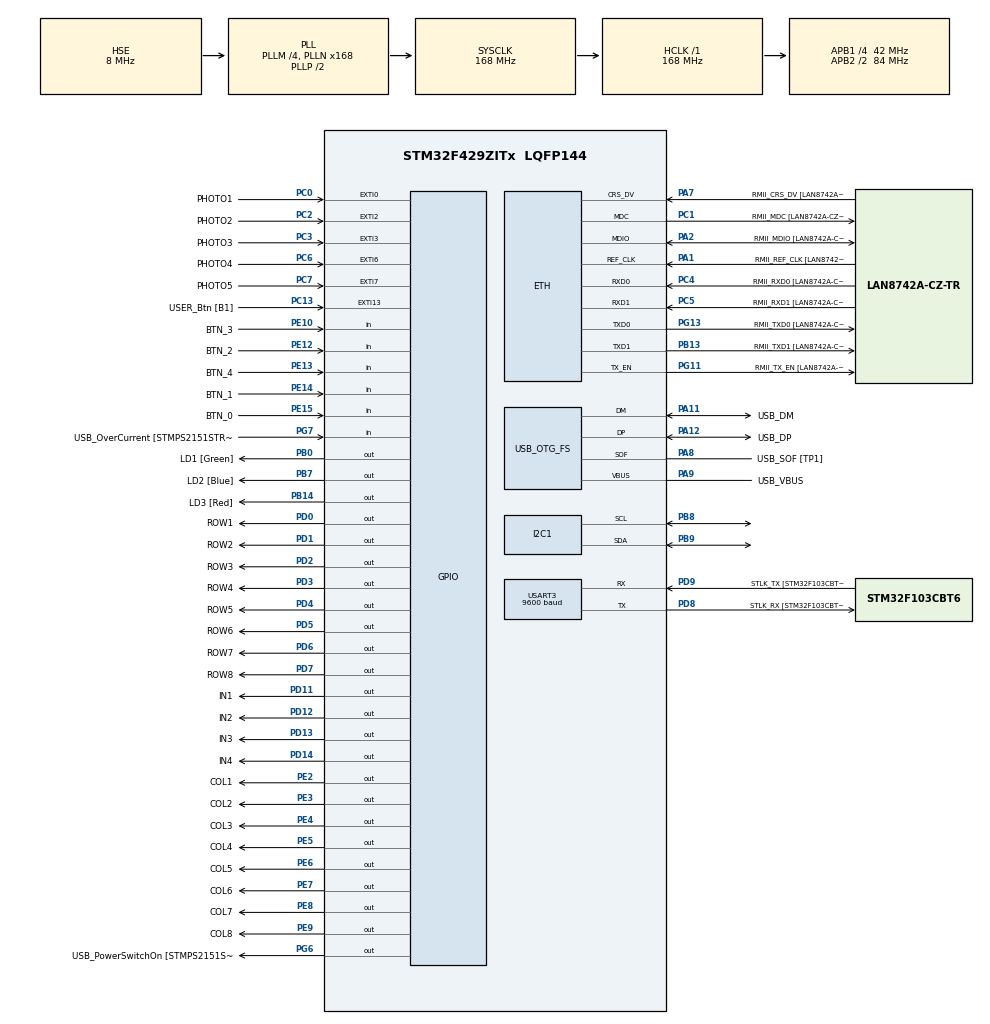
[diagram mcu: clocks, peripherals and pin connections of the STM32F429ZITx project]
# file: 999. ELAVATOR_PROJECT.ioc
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ETH.MediaInterface=HAL_ETH_RMII_MODE
ETH.PHY_Name=LAN8742A_PHY_ADDRESS
ETH.PHY_Value=0
ETH.PhyAddress=0
FREERTOS.Mutexes01=Mutex1,Dynamic,NULL
FREERTOS.Tasks01=defaultTask,24,128,StartDefaultTask,Default,NULL,Dynamic,NULL,NULL;DotMatrix,8,128,DotMatrix_func,Default,NULL,Dynamic,NULL,NULL;StepMotor,8,128,StepMotor_func,Default,NULL,Dynamic,NULL,NULL;LCD,8,128,LCD_func,Default,NULL,Dynamic,NULL,NULL;FND,8,128,FND_func,Default,NULL,Dynamic,NULL,NULL
FREERTOS.configUSE_NEWLIB_REENTRANT=1
Mcu.Family=STM32F4
Mcu.Name=STM32F429ZITx
Mcu.Package=LQFP144
NVIC.EXTI0_IRQn=true\:5\:0\:false\:false\:true\:true\:true\:true\:true
NVIC.EXTI15_10_IRQn=true\:5\:0\:false\:false\:true\:true\:true\:true\:true
NVIC.EXTI2_IRQn=true\:5\:0\:false\:false\:true\:true\:true\:true\:true
NVIC.EXTI3_IRQn=true\:5\:0\:false\:false\:true\:true\:true\:true\:true
NVIC.EXTI9_5_IRQn=true\:5\:0\:false\:false\:true\:true\:true\:true\:true
NVIC.PriorityGroup=NVIC_PRIORITYGROUP_4
NVIC.TIM1_TRG_COM_TIM11_IRQn=true\:5\:0\:false\:false\:true\:true\:true\:true\:true
NVIC.TIM1_UP_TIM10_IRQn=true\:15\:0\:false\:false\:true\:false\:false\:true\:true
NVIC.TimeBase=TIM1_UP_TIM10_IRQn
NVIC.TimeBaseIP=TIM10
NVIC.USART3_IRQn=true\:5\:0\:false\:false\:true\:true\:true\:true\:true
PA1.GPIO_Label=RMII_REF_CLK [LAN8742A-CZ-TR_REFCLK0]
PA1.Mode=RMII
PA1.Signal=ETH_REF_CLK
PA10.GPIO_Label=USB_ID
PA10.Signal=USB_OTG_FS_ID
PA11.GPIO_Label=USB_DM
PA11.Mode=Device_Only
PA11.Signal=USB_OTG_FS_DM
PA12.GPIO_Label=USB_DP
PA12.Mode=Device_Only
PA12.Signal=USB_OTG_FS_DP
PA13.GPIO_Label=TMS
PA13.Mode=Serial_Wire
PA13.Signal=SYS_JTMS-SWDIO
PA14.GPIO_Label=TCK
PA14.Mode=Serial_Wire
PA14.Signal=SYS_JTCK-SWCLK
PA2.GPIO_Label=RMII_MDIO [LAN8742A-CZ-TR_MDIO]
PA2.Mode=RMII
PA2.Signal=ETH_MDIO
PA7.GPIO_Label=RMII_CRS_DV [LAN8742A-CZ-TR_CRS_DV]
PA7.Mode=RMII
PA7.Signal=ETH_CRS_DV
PA8.GPIO_Label=USB_SOF [TP1]
PA8.Mode=Activate_SOF_FS
PA8.Signal=USB_OTG_FS_SOF
PA9.GPIO_Label=USB_VBUS
PA9.Mode=Activate_VBUS
PA9.Signal=USB_OTG_FS_VBUS
PB0.GPIO_Label=LD1 [Green]
PB0.Signal=GPIO_Output
PB13.GPIO_Label=RMII_TXD1 [LAN8742A-CZ-TR_TXD1]
PB13.Mode=RMII
PB13.Signal=ETH_TXD1
PB14.GPIO_Label=LD3 [Red]
PB14.Signal=GPIO_Output
PB7.GPIO_Label=LD2 [Blue]
PB7.Signal=GPIO_Output
PB8.Mode=I2C
PB8.Signal=I2C1_SCL
PB9.Mode=I2C
PB9.Signal=I2C1_SDA
PC0.GPIO_Label=PHOTO1
PC0.Signal=GPXTI0
PC1.GPIO_Label=RMII_MDC [LAN8742A-CZ-TR_MDC]
PC1.Mode=RMII
PC1.Signal=ETH_MDC
PC13.GPIO_Label=USER_Btn [B1]
PC13.Signal=GPXTI13
PC14/OSC32_IN.Mode=LSE-External-Oscillator
PC14/OSC32_IN.Signal=RCC_OSC32_IN
PC15/OSC32_OUT.Mode=LSE-External-Oscillator
PC15/OSC32_OUT.Signal=RCC_OSC32_OUT
PC2.GPIO_Label=PHOTO2
PC2.Signal=GPXTI2
PC3.GPIO_Label=PHOTO3
PC3.Signal=GPXTI3
PC4.GPIO_Label=RMII_RXD0 [LAN8742A-CZ-TR_RXD0]
PC4.Mode=RMII
PC4.Signal=ETH_RXD0
PC5.GPIO_Label=RMII_RXD1 [LAN8742A-CZ-TR_RXD1]
PC5.Mode=RMII
PC5.Signal=ETH_RXD1
PC6.GPIO_Label=PHOTO4
PC6.Signal=GPXTI6
PC7.GPIO_Label=PHOTO5
PC7.Signal=GPXTI7
PD0.GPIO_Label=ROW1
PD0.Signal=GPIO_Output
PD1.GPIO_Label=ROW2
PD1.Signal=GPIO_Output
PD11.GPIO_Label=IN1
PD11.Signal=GPIO_Output
PD12.GPIO_Label=IN2
PD12.Signal=GPIO_Output
PD13.GPIO_Label=IN3
PD13.Signal=GPIO_Output
PD14.GPIO_Label=IN4
PD14.Signal=GPIO_Output
PD2.GPIO_Label=ROW3
PD2.Signal=GPIO_Output
PD3.GPIO_Label=ROW4
PD3.Signal=GPIO_Output
PD4.GPIO_Label=ROW5
PD4.Signal=GPIO_Output
PD5.GPIO_Label=ROW6
PD5.Signal=GPIO_Output
PD6.GPIO_Label=ROW7
PD6.Signal=GPIO_Output
PD7.GPIO_Label=ROW8
PD7.Signal=GPIO_Output
PD8.GPIO_Label=STLK_RX [STM32F103CBT6_PA3]
PD8.Mode=Asynchronous
PD8.Signal=USART3_TX
PD9.GPIO_Label=STLK_TX [STM32F103CBT6_PA2]
PD9.Mode=Asynchronous
PD9.Signal=USART3_RX
PE10.GPIO_Label=BTN_3
PE10.Signal=GPIO_Input
PE12.GPIO_Label=BTN_2
PE12.Signal=GPIO_Input
PE13.GPIO_Label=BTN_4
PE13.Signal=GPIO_Input
PE14.GPIO_Label=BTN_1
PE14.Signal=GPIO_Input
PE15.GPIO_Label=BTN_0
PE15.Signal=GPIO_Input
PE2.GPIO_Label=COL1
PE2.Signal=GPIO_Output
PE3.GPIO_Label=COL2
PE3.Signal=GPIO_Output
PE4.GPIO_Label=COL3
PE4.Signal=GPIO_Output
PE5.GPIO_Label=COL4
PE5.Signal=GPIO_Output
PE6.GPIO_Label=COL5
PE6.Signal=GPIO_Output
PE7.GPIO_Label=COL6
PE7.Signal=GPIO_Output
PE8.GPIO_Label=COL7
PE8.Signal=GPIO_Output
PE9.GPIO_Label=COL8
PE9.Signal=GPIO_Output
PG11.GPIO_Label=RMII_TX_EN [LAN8742A-CZ-TR_TXEN]
PG11.Mode=RMII
PG11.Signal=ETH_TX_EN
PG13.GPIO_Label=RMII_TXD0 [LAN8742A-CZ-TR_TXD0]
PG13.Mode=RMII
PG13.Signal=ETH_TXD0
PG6.GPIO_Label=USB_PowerSwitchOn [STMPS2151STR_EN]
PG6.Signal=GPIO_Output
PG7.GPIO_Label=USB_OverCurrent [STMPS2151STR_FAULT]
PG7.Signal=GPIO_Input
PH0/OSC_IN.GPIO_Label=MCO [STM32F103CBT6_PA8]
PH0/OSC_IN.Mode=HSE-External-Clock-Source
PH0/OSC_IN.Signal=RCC_OSC_IN
PH1/OSC_OUT.Mode=HSE-External-Clock-Source
PH1/OSC_OUT.Signal=RCC_OSC_OUT
ProjectManager.HeapSize=0x200
ProjectManager.StackSize=0x400
ProjectManager.TargetToolchain=STM32CubeIDE
RCC.48MHZClocksFreq_Value=48000000
RCC.AHBFreq_Value=168000000
RCC.APB1CLKDivider=RCC_HCLK_DIV4
RCC.APB1Freq_Value=42000000
RCC.APB1TimFreq_Value=84000000
RCC.APB2CLKDivider=RCC_HCLK_DIV2
RCC.APB2Freq_Value=84000000
RCC.APB2TimCLKDivider=2
RCC.APB2TimFreq_Value=168000000
RCC.CortexFreq_Value=168000000
RCC.HCLKFreq_Value=168000000
RCC.HSE_VALUE=8000000
RCC.HSI_VALUE=16000000
RCC.PLLM=4
RCC.PLLMUL=RCC_PLL_MUL9
RCC.PLLN=168
RCC.PLLQ=7
RCC.PRESCALERUSB=RCC_USBCLKSOURCE_PLL_DIV1_5
RCC.SYSCLKFreq_VALUE=168000000
RCC.SYSCLKSource=RCC_SYSCLKSOURCE_PLLCLK
RCC.SYSCLKSourceVirtual=RCC_SYSCLKSOURCE_PLLCLK
RCC.USBFreq_Value=48000000
RCC.VCOOutputFreq_Value=336000000
TIM11.Prescaler=168-1
USART3.BaudRate=9600
USART3.VirtualMode=VM_ASYNC
USB_OTG_FS.VirtualMode=Device_Only
VP_FREERTOS_VS_CMSIS_V2.Mode=CMSIS_V2
VP_SYS_VS_tim10.Mode=TIM10
VP_TIM11_VS_ClockSourceINT.Mode=Enable_Timer
board=NUCLEO-F429ZI

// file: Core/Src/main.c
/* USER CODE BEGIN Header */
/**
  ******************************************************************************
  * @file           : main.c
  * @brief          : Main program body
  ******************************************************************************
  * @attention
  *
  * Copyright (c) 2024 STMicroelectronics.
  * All rights reserved.
  *
  * This software is licensed under terms that can be found in the LICENSE file
  * in the root directory of this software component.
  * If no LICENSE file comes with this software, it is provided AS-IS.
  *
  ******************************************************************************
  */
/* USER CODE END Header */
#include "main.h"
#include "string.h"
#include "cmsis_os.h"

ETH_TxPacketConfig TxConfig;
ETH_DMADescTypeDef  DMARxDscrTab[ETH_RX_DESC_CNT]; /* Ethernet Rx DMA Descriptors */
ETH_DMADescTypeDef  DMATxDscrTab[ETH_TX_DESC_CNT]; /* Ethernet Tx DMA Descriptors */

ETH_HandleTypeDef heth;

I2C_HandleTypeDef hi2c1;

TIM_HandleTypeDef htim11;

UART_HandleTypeDef huart3;

PCD_HandleTypeDef hpcd_USB_OTG_FS;

/* Definitions for defaultTask */
osThreadId_t defaultTaskHandle;
const osThreadAttr_t defaultTask_attributes = {
  .name = "defaultTask",
  .stack_size = 128 * 4,
  .priority = (osPriority_t) osPriorityNormal,
};
/* Definitions for DotMatrix */
osThreadId_t DotMatrixHandle;
const osThreadAttr_t DotMatrix_attributes = {
  .name = "DotMatrix",
  .stack_size = 128 * 4,
  .priority = (osPriority_t) osPriorityLow,
};
/* Definitions for StepMotor */
osThreadId_t StepMotorHandle;
const osThreadAttr_t StepMotor_attributes = {
  .name = "StepMotor",
  .stack_size = 128 * 4,
  .priority = (osPriority_t) osPriorityLow,
};
/* Definitions for LCD */
osThreadId_t LCDHandle;
const osThreadAttr_t LCD_attributes = {
  .name = "LCD",
  .stack_size = 128 * 4,
  .priority = (osPriority_t) osPriorityLow,
};
/* Definitions for FND */
osThreadId_t FNDHandle;
const osThreadAttr_t FND_attributes = {
  .name = "FND",
  .stack_size = 128 * 4,
  .priority = (osPriority_t) osPriorityLow,
};
/* Definitions for Mutex1 */
osMutexId_t Mutex1Handle;
const osMutexAttr_t Mutex1_attributes = {
  .name = "Mutex1"
};
/* USER CODE BEGIN PV */
int led1_count = 0;
int led2_count = 0;
int led3_count = 0;
int current_floor = 1;
int target_floor =0;
int stepmotor_activate = 0;
int dotmatrix_flag = 0;
/* USER CODE END PV */

void SystemClock_Config(void);
static void MX_GPIO_Init(void);
static void MX_ETH_Init(void);
static void MX_USART3_UART_Init(void);
static void MX_USB_OTG_FS_PCD_Init(void);
static void MX_TIM11_Init(void);
static void MX_I2C1_Init(void);
void StartDefaultTask(void *argument);
void DotMatrix_func(void *argument);
void StepMotor_func(void *argument);
void LCD_func(void *argument);
void FND_func(void *argument);

/* USER CODE BEGIN PFP */
extern void stepmotor_main_test(void);
extern void pc_command_processing(void);
void delay_us(unsigned long us);
/* USER CODE END PFP */

/* USER CODE BEGIN 0 */

//----------  printf start ----------
#ifdef __GNUC__
/* With GCC, small printf (option LD Linker->Libraries->Small printf
   set to 'Yes') calls __io_putchar() */
#define PUTCHAR_PROTOTYPE int __io_putchar(int ch)
#else
#define PUTCHAR_PROTOTYPE int fputc(int ch, FILE *f)
#endif /* __GNUC_ */
/**
  * @brief  Retargets the C library printf function to the USART.
  * @param  None
  * @retval None
  */
PUTCHAR_PROTOTYPE   // Add for printf
{
  /* Place your implementation of fputc here */
  /* e.g. write a character to the USART3 and Loop until the end of transmission */
  HAL_UART_Transmit(&huart3, (uint8_t *)&ch, 1, 0xFFFF);

  return ch;
}
//----------  printf end ----------

void delay_us(unsigned long us)
{
	__HAL_TIM_SET_COUNTER(&htim11 , 0);
	while(__HAL_TIM_GET_COUNTER(&htim11) < us);
}

volatile int ext_int_no = -1;
void HAL_GPIO_EXTI_Callback(uint16_t GPIO_Pin)
{
	switch (GPIO_Pin)
	{
		case PHOTO1_Pin:
			printf("1th floor\n");
			current_floor = 1;
			ext_int_no = GPIO_Pin;
			break;
		case PHOTO2_Pin:
			printf("2nd floor\n");
			current_floor = 2;
			ext_int_no = GPIO_Pin;
			break;
		case PHOTO3_Pin:
			printf("3rd floor\n");
			current_floor = 3;
			ext_int_no = GPIO_Pin;
			break;
		case PHOTO4_Pin:
			printf("4th floor\n");
			current_floor = 4;
			ext_int_no = GPIO_Pin;
			break;
		case PHOTO5_Pin:
			printf("5th floor\n");
			current_floor = 5;
			ext_int_no = GPIO_Pin;
			break;
	}

}
/* USER CODE END 0 */

int main(void)
{

  /* MCU Configuration--------------------------------------------------------*/

  /* Reset of all peripherals, Initializes the Flash interface and the Systick. */
  HAL_Init();

  /* Configure the system clock */
  SystemClock_Config();

  /* Initialize all configured peripherals */
  MX_GPIO_Init();
  MX_ETH_Init();
  MX_USART3_UART_Init();
  MX_USB_OTG_FS_PCD_Init();
  MX_TIM11_Init();
  MX_I2C1_Init();
  /* USER CODE BEGIN 2 */
  HAL_TIM_Base_Start_IT(&htim11);

  /* USER CODE END 2 */

  /* Init scheduler */
  osKernelInitialize();
  /* Create the mutex(es) */
  /* creation of Mutex1 */
  Mutex1Handle = osMutexNew(&Mutex1_attributes);

  /* Create the thread(s) */
  /* creation of defaultTask */
  defaultTaskHandle = osThreadNew(StartDefaultTask, NULL, &defaultTask_attributes);

  /* creation of DotMatrix */
  DotMatrixHandle = osThreadNew(DotMatrix_func, NULL, &DotMatrix_attributes);

  /* creation of StepMotor */
  StepMotorHandle = osThreadNew(StepMotor_func, NULL, &StepMotor_attributes);

  /* creation of LCD */
  LCDHandle = osThreadNew(LCD_func, NULL, &LCD_attributes);

  /* creation of FND */
  FNDHandle = osThreadNew(FND_func, NULL, &FND_attributes);

  /* Start scheduler */
  osKernelStart();
  /* We should never get here as control is now taken by the scheduler */
  /* Infinite loop */
  /* USER CODE BEGIN WHILE */
  while (1)
  {
	  //led_main();

    /* USER CODE END WHILE */

  }
}

void SystemClock_Config(void)
{
  RCC_OscInitTypeDef RCC_OscInitStruct = {0};
  RCC_ClkInitTypeDef RCC_ClkInitStruct = {0};

  /** Configure the main internal regulator output voltage
  */
  __HAL_RCC_PWR_CLK_ENABLE();
  __HAL_PWR_VOLTAGESCALING_CONFIG(PWR_REGULATOR_VOLTAGE_SCALE1);

  /** Initializes the RCC Oscillators according to the specified parameters
  * in the RCC_OscInitTypeDef structure.
  */
  RCC_OscInitStruct.OscillatorType = RCC_OSCILLATORTYPE_HSE;
  RCC_OscInitStruct.HSEState = RCC_HSE_BYPASS;
  RCC_OscInitStruct.PLL.PLLState = RCC_PLL_ON;
  RCC_OscInitStruct.PLL.PLLSource = RCC_PLLSOURCE_HSE;
  RCC_OscInitStruct.PLL.PLLM = 4;
  RCC_OscInitStruct.PLL.PLLN = 168;
  RCC_OscInitStruct.PLL.PLLP = RCC_PLLP_DIV2;
  RCC_OscInitStruct.PLL.PLLQ = 7;
  if (HAL_RCC_OscConfig(&RCC_OscInitStruct) != HAL_OK)
  {
    Error_Handler();
  }

  /** Initializes the CPU, AHB and APB buses clocks
  */
  RCC_ClkInitStruct.ClockType = RCC_CLOCKTYPE_HCLK|RCC_CLOCKTYPE_SYSCLK
                              |RCC_CLOCKTYPE_PCLK1|RCC_CLOCKTYPE_PCLK2;
  RCC_ClkInitStruct.SYSCLKSource = RCC_SYSCLKSOURCE_PLLCLK;
  RCC_ClkInitStruct.AHBCLKDivider = RCC_SYSCLK_DIV1;
  RCC_ClkInitStruct.APB1CLKDivider = RCC_HCLK_DIV4;
  RCC_ClkInitStruct.APB2CLKDivider = RCC_HCLK_DIV2;

  if (HAL_RCC_ClockConfig(&RCC_ClkInitStruct, FLASH_LATENCY_5) != HAL_OK)
  {
    Error_Handler();
  }
}

static void MX_ETH_Init(void)
{

   static uint8_t MACAddr[6];

  heth.Instance = ETH;
  MACAddr[0] = 0x00;
  MACAddr[1] = 0x80;
  MACAddr[2] = 0xE1;
  MACAddr[3] = 0x00;
  MACAddr[4] = 0x00;
  MACAddr[5] = 0x00;
  heth.Init.MACAddr = &MACAddr[0];
  heth.Init.MediaInterface = HAL_ETH_RMII_MODE;
  heth.Init.TxDesc = DMATxDscrTab;
  heth.Init.RxDesc = DMARxDscrTab;
  heth.Init.RxBuffLen = 1524;

  if (HAL_ETH_Init(&heth) != HAL_OK)
  {
    Error_Handler();
  }

  memset(&TxConfig, 0 , sizeof(ETH_TxPacketConfig));
  TxConfig.Attributes = ETH_TX_PACKETS_FEATURES_CSUM | ETH_TX_PACKETS_FEATURES_CRCPAD;
  TxConfig.ChecksumCtrl = ETH_CHECKSUM_IPHDR_PAYLOAD_INSERT_PHDR_CALC;
  TxConfig.CRCPadCtrl = ETH_CRC_PAD_INSERT;

}

static void MX_I2C1_Init(void)
{

  hi2c1.Instance = I2C1;
  hi2c1.Init.ClockSpeed = 100000;
  hi2c1.Init.DutyCycle = I2C_DUTYCYCLE_2;
  hi2c1.Init.OwnAddress1 = 0;
  hi2c1.Init.AddressingMode = I2C_ADDRESSINGMODE_7BIT;
  hi2c1.Init.DualAddressMode = I2C_DUALADDRESS_DISABLE;
  hi2c1.Init.OwnAddress2 = 0;
  hi2c1.Init.GeneralCallMode = I2C_GENERALCALL_DISABLE;
  hi2c1.Init.NoStretchMode = I2C_NOSTRETCH_DISABLE;
  if (HAL_I2C_Init(&hi2c1) != HAL_OK)
  {
    Error_Handler();
  }

  /** Configure Analogue filter
  */
  if (HAL_I2CEx_ConfigAnalogFilter(&hi2c1, I2C_ANALOGFILTER_ENABLE) != HAL_OK)
  {
    Error_Handler();
  }

  /** Configure Digital filter
  */
  if (HAL_I2CEx_ConfigDigitalFilter(&hi2c1, 0) != HAL_OK)
  {
    Error_Handler();
  }

}

static void MX_TIM11_Init(void)
{

  htim11.Instance = TIM11;
  htim11.Init.Prescaler = 168-1;
  htim11.Init.CounterMode = TIM_COUNTERMODE_UP;
  htim11.Init.Period = 65535;
  htim11.Init.ClockDivision = TIM_CLOCKDIVISION_DIV1;
  htim11.Init.AutoReloadPreload = TIM_AUTORELOAD_PRELOAD_DISABLE;
  if (HAL_TIM_Base_Init(&htim11) != HAL_OK)
  {
    Error_Handler();
  }

}

static void MX_USART3_UART_Init(void)
{

  huart3.Instance = USART3;
  huart3.Init.BaudRate = 9600;
  huart3.Init.WordLength = UART_WORDLENGTH_8B;
  huart3.Init.StopBits = UART_STOPBITS_1;
  huart3.Init.Parity = UART_PARITY_NONE;
  huart3.Init.Mode = UART_MODE_TX_RX;
  huart3.Init.HwFlowCtl = UART_HWCONTROL_NONE;
  huart3.Init.OverSampling = UART_OVERSAMPLING_16;
  if (HAL_UART_Init(&huart3) != HAL_OK)
  {
    Error_Handler();
  }

}

static void MX_USB_OTG_FS_PCD_Init(void)
{

  hpcd_USB_OTG_FS.Instance = USB_OTG_FS;
  hpcd_USB_OTG_FS.Init.dev_endpoints = 4;
  hpcd_USB_OTG_FS.Init.speed = PCD_SPEED_FULL;
  hpcd_USB_OTG_FS.Init.dma_enable = DISABLE;
  hpcd_USB_OTG_FS.Init.phy_itface = PCD_PHY_EMBEDDED;
  hpcd_USB_OTG_FS.Init.Sof_enable = ENABLE;
  hpcd_USB_OTG_FS.Init.low_power_enable = DISABLE;
  hpcd_USB_OTG_FS.Init.lpm_enable = DISABLE;
  hpcd_USB_OTG_FS.Init.vbus_sensing_enable = ENABLE;
  hpcd_USB_OTG_FS.Init.use_dedicated_ep1 = DISABLE;
  if (HAL_PCD_Init(&hpcd_USB_OTG_FS) != HAL_OK)
  {
    Error_Handler();
  }

}

static void MX_GPIO_Init(void)
{
  GPIO_InitTypeDef GPIO_InitStruct = {0};

  /* GPIO Ports Clock Enable */
  __HAL_RCC_GPIOE_CLK_ENABLE();
  __HAL_RCC_GPIOC_CLK_ENABLE();
  __HAL_RCC_GPIOH_CLK_ENABLE();
  __HAL_RCC_GPIOA_CLK_ENABLE();
  __HAL_RCC_GPIOB_CLK_ENABLE();
  __HAL_RCC_GPIOD_CLK_ENABLE();
  __HAL_RCC_GPIOG_CLK_ENABLE();

  /*Configure GPIO pin Output Level */
  HAL_GPIO_WritePin(GPIOE, COL1_Pin|COL2_Pin|COL3_Pin|COL4_Pin
                          |COL5_Pin|COL6_Pin|COL7_Pin|COL8_Pin, GPIO_PIN_RESET);

  /*Configure GPIO pin Output Level */
  HAL_GPIO_WritePin(GPIOB, LD1_Pin|LD3_Pin|LD2_Pin, GPIO_PIN_RESET);

  /*Configure GPIO pin Output Level */
  HAL_GPIO_WritePin(GPIOD, IN1_Pin|IN2_Pin|IN3_Pin|IN4_Pin
                          |ROW1_Pin|ROW2_Pin|ROW3_Pin|ROW4_Pin
                          |ROW5_Pin|ROW6_Pin|ROW7_Pin|ROW8_Pin, GPIO_PIN_RESET);

  /*Configure GPIO pin Output Level */
  HAL_GPIO_WritePin(USB_PowerSwitchOn_GPIO_Port, USB_PowerSwitchOn_Pin, GPIO_PIN_RESET);

  /*Configure GPIO pins : COL1_Pin COL2_Pin COL3_Pin COL4_Pin
                           COL5_Pin COL6_Pin COL7_Pin COL8_Pin */
  GPIO_InitStruct.Pin = COL1_Pin|COL2_Pin|COL3_Pin|COL4_Pin
                          |COL5_Pin|COL6_Pin|COL7_Pin|COL8_Pin;
  GPIO_InitStruct.Mode = GPIO_MODE_OUTPUT_PP;
  GPIO_InitStruct.Pull = GPIO_NOPULL;
  GPIO_InitStruct.Speed = GPIO_SPEED_FREQ_LOW;
  HAL_GPIO_Init(GPIOE, &GPIO_InitStruct);

  /*Configure GPIO pins : USER_Btn_Pin PHOTO1_Pin PHOTO2_Pin PHOTO3_Pin
                           PHOTO4_Pin PHOTO5_Pin */
  GPIO_InitStruct.Pin = USER_Btn_Pin|PHOTO1_Pin|PHOTO2_Pin|PHOTO3_Pin
                          |PHOTO4_Pin|PHOTO5_Pin;
  GPIO_InitStruct.Mode = GPIO_MODE_IT_RISING;
  GPIO_InitStruct.Pull = GPIO_NOPULL;
  HAL_GPIO_Init(GPIOC, &GPIO_InitStruct);

  /*Configure GPIO pins : LD1_Pin LD3_Pin LD2_Pin */
  GPIO_InitStruct.Pin = LD1_Pin|LD3_Pin|LD2_Pin;
  GPIO_InitStruct.Mode = GPIO_MODE_OUTPUT_PP;
  GPIO_InitStruct.Pull = GPIO_NOPULL;
  GPIO_InitStruct.Speed = GPIO_SPEED_FREQ_LOW;
  HAL_GPIO_Init(GPIOB, &GPIO_InitStruct);

  /*Configure GPIO pins : BTN_3_Pin BTN_2_Pin BTN_4_Pin BTN_1_Pin
                           BTN_0_Pin */
  GPIO_InitStruct.Pin = BTN_3_Pin|BTN_2_Pin|BTN_4_Pin|BTN_1_Pin
                          |BTN_0_Pin;
  GPIO_InitStruct.Mode = GPIO_MODE_INPUT;
  GPIO_InitStruct.Pull = GPIO_NOPULL;
  HAL_GPIO_Init(GPIOE, &GPIO_InitStruct);

  /*Configure GPIO pins : IN1_Pin IN2_Pin IN3_Pin IN4_Pin
                           ROW1_Pin ROW2_Pin ROW3_Pin ROW4_Pin
                           ROW5_Pin ROW6_Pin ROW7_Pin ROW8_Pin */
  GPIO_InitStruct.Pin = IN1_Pin|IN2_Pin|IN3_Pin|IN4_Pin
                          |ROW1_Pin|ROW2_Pin|ROW3_Pin|ROW4_Pin
                          |ROW5_Pin|ROW6_Pin|ROW7_Pin|ROW8_Pin;
  GPIO_InitStruct.Mode = GPIO_MODE_OUTPUT_PP;
  GPIO_InitStruct.Pull = GPIO_NOPULL;
  GPIO_InitStruct.Speed = GPIO_SPEED_FREQ_LOW;
  HAL_GPIO_Init(GPIOD, &GPIO_InitStruct);

  /*Configure GPIO pin : USB_PowerSwitchOn_Pin */
  GPIO_InitStruct.Pin = USB_PowerSwitchOn_Pin;
  GPIO_InitStruct.Mode = GPIO_MODE_OUTPUT_PP;
  GPIO_InitStruct.Pull = GPIO_NOPULL;
  GPIO_InitStruct.Speed = GPIO_SPEED_FREQ_LOW;
  HAL_GPIO_Init(USB_PowerSwitchOn_GPIO_Port, &GPIO_InitStruct);

  /*Configure GPIO pin : USB_OverCurrent_Pin */
  GPIO_InitStruct.Pin = USB_OverCurrent_Pin;
  GPIO_InitStruct.Mode = GPIO_MODE_INPUT;
  GPIO_InitStruct.Pull = GPIO_NOPULL;
  HAL_GPIO_Init(USB_OverCurrent_GPIO_Port, &GPIO_InitStruct);

  /* EXTI interrupt init*/
  HAL_NVIC_SetPriority(EXTI0_IRQn, 5, 0);
  HAL_NVIC_EnableIRQ(EXTI0_IRQn);

  HAL_NVIC_SetPriority(EXTI2_IRQn, 5, 0);
  HAL_NVIC_EnableIRQ(EXTI2_IRQn);

  HAL_NVIC_SetPriority(EXTI3_IRQn, 5, 0);
  HAL_NVIC_EnableIRQ(EXTI3_IRQn);

  HAL_NVIC_SetPriority(EXTI9_5_IRQn, 5, 0);
  HAL_NVIC_EnableIRQ(EXTI9_5_IRQn);

  HAL_NVIC_SetPriority(EXTI15_10_IRQn, 5, 0);
  HAL_NVIC_EnableIRQ(EXTI15_10_IRQn);

}

void StartDefaultTask(void *argument)
{
  /* USER CODE BEGIN 5 */
  /* Infinite loop */
  for(;;)
  {
	button_pushed();
    osDelay(1);
  }
  /* USER CODE END 5 */
}

void DotMatrix_func(void *argument)
{
  /* USER CODE BEGIN DotMatrix_func */
  init_dotmatrix();

  /* Infinite loop */
  for(;;)
  {
	if(dotmatrix_flag==-1)
	{
		dotmatrix_going_down();
	}
	else if(dotmatrix_flag==1)
	{
		dotmatrix_going_up();
	}
	else if(dotmatrix_flag==0)
	{
		dotmatrix_smile();
	}

    osDelay(1);
  }
  /* USER CODE END DotMatrix_func */
}

void StepMotor_func(void *argument)
{
  /* USER CODE BEGIN StepMotor_func */
  /* Infinite loop */
  for(;;)
  {
	  if(target_floor==0)
	  {
		  stepmotor_activate=0;
	  }
	  if(stepmotor_activate==1)
	  {
		  if(current_floor<target_floor)
		  {
			  dotmatrix_flag=1;
			  stepmotor_forward(stepmotor_activate);
		  }
		  else if(current_floor>target_floor)
		  {
			  dotmatrix_flag=-1;
			  stepmotor_backward(stepmotor_activate);
		  }
		  else if(current_floor==target_floor)
		  {
			  dotmatrix_flag=0;
			  stepmotor_activate = 0;
	      }
	  }

	  /*
	  if(osMutexWait(Mutex1Handle,1000) == osOK)
		  //1000ms 동안 Mutex1의 Handle을 lock 시키는거
	  {
		  //공유자원 접근 작업 하고
		  osMutexRelease(Mutex1Handle);//다시 풀어주고
	  }
	  */
  }
  /* USER CODE END StepMotor_func */
}

void LCD_func(void *argument)
{
  /* USER CODE BEGIN LCD_func */
	i2c_lcd_init();
	char buffer1[18] = "current floor: ";
	char buffer2[18] = "target floor: ";
	size_t length1 = strlen(buffer1);
	size_t length2 = strlen(buffer2);
  /* Infinite loop */
  for(;;)
  {
		sprintf(buffer1 + length1, "%d", current_floor);
		sprintf(buffer2 + length2, "%d", target_floor);

		move_cursor(0, 0);
		lcd_string(buffer1);
		move_cursor(1, 0);
		lcd_string(buffer2);

		HAL_GPIO_TogglePin(GPIOB, GPIO_PIN_7);   // LED3
		osDelay(1000);
  }
  /* USER CODE END LCD_func */
}

void FND_func(void *argument)
{
  /* USER CODE BEGIN FND_func */
  /* Infinite loop */
  for(;;)
  {
		HAL_GPIO_TogglePin(GPIOB, GPIO_PIN_14);   // LED3
		osDelay(100);
  }
  /* USER CODE END FND_func */
}

void HAL_TIM_PeriodElapsedCallback(TIM_HandleTypeDef *htim)
{
  if (htim->Instance == TIM10) {
    HAL_IncTick();
  }
}

void Error_Handler(void)
{
  __disable_irq();
  while (1)
  {
  }
}
